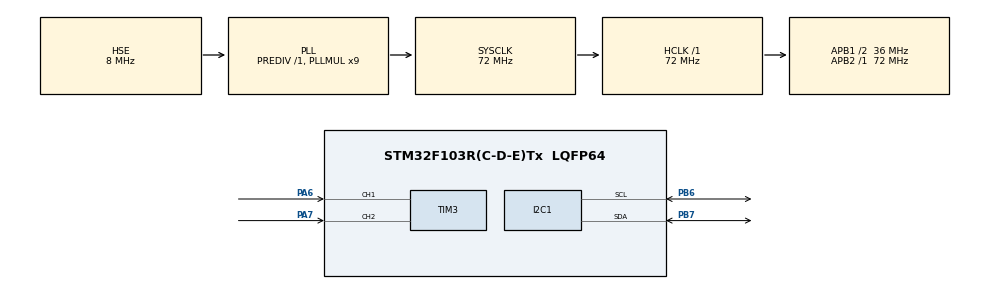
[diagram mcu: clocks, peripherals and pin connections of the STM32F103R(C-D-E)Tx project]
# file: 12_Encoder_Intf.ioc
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FREERTOS.Mutexes01=encoder_mutex,Dynamic,NULL
FREERTOS.Tasks01=Encoder_PWMI,24,256,Encoder_Entry,Default,NULL,Dynamic,NULL,NULL
I2C1.I2C_Mode=I2C_Fast
Mcu.Family=STM32F1
Mcu.Name=STM32F103R(C-D-E)Tx
Mcu.Package=LQFP64
NVIC.PriorityGroup=NVIC_PRIORITYGROUP_4
NVIC.TIM2_IRQn=true\:5\:0\:false\:false\:true\:true\:true\:true\:true
NVIC.TIM7_IRQn=true\:15\:0\:false\:false\:true\:false\:false\:true\:true
NVIC.TimeBase=TIM7_IRQn
NVIC.TimeBaseIP=TIM7
PA13.Mode=Serial_Wire
PA13.Signal=SYS_JTMS-SWDIO
PA14.Mode=Serial_Wire
PA14.Signal=SYS_JTCK-SWCLK
PA6.GPIO_PuPd=GPIO_PULLUP
PA6.Signal=S_TIM3_CH1
PA7.GPIO_PuPd=GPIO_PULLUP
PA7.Signal=S_TIM3_CH2
PB6.Mode=I2C
PB6.Signal=I2C1_SCL
PB7.Mode=I2C
PB7.Signal=I2C1_SDA
PC14-OSC32_IN.Mode=LSE-External-Oscillator
PC14-OSC32_IN.Signal=RCC_OSC32_IN
PC15-OSC32_OUT.Mode=LSE-External-Oscillator
PC15-OSC32_OUT.Signal=RCC_OSC32_OUT
PD0-OSC_IN.Mode=HSE-External-Oscillator
PD0-OSC_IN.Signal=RCC_OSC_IN
PD1-OSC_OUT.Mode=HSE-External-Oscillator
PD1-OSC_OUT.Signal=RCC_OSC_OUT
ProjectManager.HeapSize=0x200
ProjectManager.StackSize=0x400
ProjectManager.TargetToolchain=MDK-ARM V5.32
RCC.AHBFreq_Value=72000000
RCC.APB1CLKDivider=RCC_HCLK_DIV2
RCC.APB1Freq_Value=36000000
RCC.APB1TimFreq_Value=72000000
RCC.APB2Freq_Value=72000000
RCC.APB2TimFreq_Value=72000000
RCC.HCLKFreq_Value=72000000
RCC.PLLMUL=RCC_PLL_MUL9
RCC.PLLSourceVirtual=RCC_PLLSOURCE_HSE
RCC.SYSCLKFreq_VALUE=72000000
RCC.SYSCLKSource=RCC_SYSCLKSOURCE_PLLCLK
RCC.USBFreq_Value=72000000
SH.S_TIM3_CH1.0=TIM3_CH1,Encoder_Interface
SH.S_TIM3_CH2.0=TIM3_CH2,Encoder_Interface
TIM2.AutoReloadPreload=TIM_AUTORELOAD_PRELOAD_DISABLE
TIM2.Period=10000-1
TIM2.Prescaler=7200-1
TIM3.AutoReloadPreload=TIM_AUTORELOAD_PRELOAD_DISABLE
TIM3.EncoderMode=TIM_ENCODERMODE_TI12
TIM3.IC1Filter=0xf
TIM3.IC2Filter=0xf
TIM3.IC2Polarity=TIM_ICPOLARITY_RISING
VP_FREERTOS_VS_CMSIS_V2.Mode=CMSIS_V2
VP_SYS_VS_tim7.Mode=TIM7
VP_TIM2_VS_ClockSourceINT.Mode=Internal
board=custom

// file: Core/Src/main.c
/* USER CODE BEGIN Header */
/**
  ******************************************************************************
  * @file           : main.c
  * @brief          : Main program body
  ******************************************************************************
  * @attention
  *
  * Copyright (c) 2024 STMicroelectronics.
  * All rights reserved.
  *
  * This software is licensed under terms that can be found in the LICENSE file
  * in the root directory of this software component.
  * If no LICENSE file comes with this software, it is provided AS-IS.
  *
  ******************************************************************************
  */
/* USER CODE END Header */
#include "main.h"
#include "cmsis_os.h"
#include "i2c.h"
#include "tim.h"
#include "gpio.h"

/* USER CODE BEGIN PM */
extern osMutexId_t encoder_mutexHandle;
/* USER CODE END PM */

/* USER CODE BEGIN PV */
int16_t encoder_speed;
/* USER CODE END PV */

void SystemClock_Config(void);
void MX_FREERTOS_Init(void);

int main(void)
{

  /* MCU Configuration--------------------------------------------------------*/

  /* Reset of all peripherals, Initializes the Flash interface and the Systick. */
  HAL_Init();

  /* Configure the system clock */
  SystemClock_Config();

  /* Initialize all configured peripherals */
  MX_GPIO_Init();
  MX_I2C1_Init();
  MX_TIM3_Init();
  MX_TIM2_Init();

  /* Init scheduler */
  osKernelInitialize();

  /* Call init function for freertos objects (in freertos.c) */
  MX_FREERTOS_Init();

  /* Start scheduler */
  osKernelStart();

  /* We should never get here as control is now taken by the scheduler */
  /* Infinite loop */
  while (1)
  {

  }
}

void SystemClock_Config(void)
{
  RCC_OscInitTypeDef RCC_OscInitStruct = {0};
  RCC_ClkInitTypeDef RCC_ClkInitStruct = {0};

  /** Initializes the RCC Oscillators according to the specified parameters
  * in the RCC_OscInitTypeDef structure.
  */
  RCC_OscInitStruct.OscillatorType = RCC_OSCILLATORTYPE_HSE;
  RCC_OscInitStruct.HSEState = RCC_HSE_ON;
  RCC_OscInitStruct.HSEPredivValue = RCC_HSE_PREDIV_DIV1;
  RCC_OscInitStruct.HSIState = RCC_HSI_ON;
  RCC_OscInitStruct.PLL.PLLState = RCC_PLL_ON;
  RCC_OscInitStruct.PLL.PLLSource = RCC_PLLSOURCE_HSE;
  RCC_OscInitStruct.PLL.PLLMUL = RCC_PLL_MUL9;
  if (HAL_RCC_OscConfig(&RCC_OscInitStruct) != HAL_OK)
  {
    Error_Handler();
  }

  /** Initializes the CPU, AHB and APB buses clocks
  */
  RCC_ClkInitStruct.ClockType = RCC_CLOCKTYPE_HCLK|RCC_CLOCKTYPE_SYSCLK
                              |RCC_CLOCKTYPE_PCLK1|RCC_CLOCKTYPE_PCLK2;
  RCC_ClkInitStruct.SYSCLKSource = RCC_SYSCLKSOURCE_PLLCLK;
  RCC_ClkInitStruct.AHBCLKDivider = RCC_SYSCLK_DIV1;
  RCC_ClkInitStruct.APB1CLKDivider = RCC_HCLK_DIV2;
  RCC_ClkInitStruct.APB2CLKDivider = RCC_HCLK_DIV1;

  if (HAL_RCC_ClockConfig(&RCC_ClkInitStruct, FLASH_LATENCY_2) != HAL_OK)
  {
    Error_Handler();
  }
}

void HAL_TIM_PeriodElapsedCallback(TIM_HandleTypeDef *htim)
{
  if (htim->Instance == TIM7) {
    HAL_IncTick();
  }
  /* USER CODE BEGIN Callback 1 */
  if(htim->Instance == TIM2){
    osMutexAcquire(encoder_mutexHandle, 2);
    encoder_speed = __HAL_TIM_GET_COUNTER(&htim3);
    osMutexRelease(encoder_mutexHandle);
    __HAL_TIM_SET_COUNTER(&htim3, 0);
  }
  /* USER CODE END Callback 1 */
}

void Error_Handler(void)
{
  __disable_irq();
  while (1)
  {
  }
}

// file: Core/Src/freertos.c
/* USER CODE BEGIN Header */
/**
  ******************************************************************************
  * File Name          : freertos.c
  * Description        : Code for freertos applications
  ******************************************************************************
  * @attention
  *
  * Copyright (c) 2024 STMicroelectronics.
  * All rights reserved.
  *
  * This software is licensed under terms that can be found in the LICENSE file
  * in the root directory of this software component.
  * If no LICENSE file comes with this software, it is provided AS-IS.
  *
  ******************************************************************************
  */
/* USER CODE END Header */

#include "FreeRTOS.h"
#include "task.h"
#include "main.h"
#include "cmsis_os.h"

/* USER CODE BEGIN Includes */
#include "oled.h"
#include "tim.h"
/* USER CODE END Includes */

/* Definitions for Encoder_PWMI */
osThreadId_t Encoder_PWMIHandle;
const osThreadAttr_t Encoder_PWMI_attributes = {
  .name = "Encoder_PWMI",
  .stack_size = 256 * 4,
  .priority = (osPriority_t) osPriorityNormal,
};
/* Definitions for encoder_mutex */
osMutexId_t encoder_mutexHandle;
const osMutexAttr_t encoder_mutex_attributes = {
  .name = "encoder_mutex"
};

void Encoder_Entry(void *argument);

void MX_FREERTOS_Init(void); /* (MISRA C 2004 rule 8.1) */

void MX_FREERTOS_Init(void) {
  /* Create the mutex(es) */
  /* creation of encoder_mutex */
  encoder_mutexHandle = osMutexNew(&encoder_mutex_attributes);

  /* Create the thread(s) */
  /* creation of Encoder_PWMI */
  Encoder_PWMIHandle = osThreadNew(Encoder_Entry, NULL, &Encoder_PWMI_attributes);

}

void Encoder_Entry(void *argument)
{
  /* USER CODE BEGIN Encoder_Entry */
  OLED_Init();
  OLED_Display_On();
  OLED_Clear();
  OLED_ShowString(0,0,"Encoder:",16,0);;

  HAL_TIM_Base_Start_IT(&htim2);
  HAL_TIM_Encoder_Start(&htim3,TIM_CHANNEL_1 | TIM_CHANNEL_2);
  /* Infinite loop */
  for(;;)
  {
    osMutexWait(encoder_mutexHandle, osWaitForever);
    OLED_Showdecimal(70,0,encoder_speed,5,0,16,0);
    osMutexRelease(encoder_mutexHandle);
    osDelay(100);
  }
  /* USER CODE END Encoder_Entry */
}
